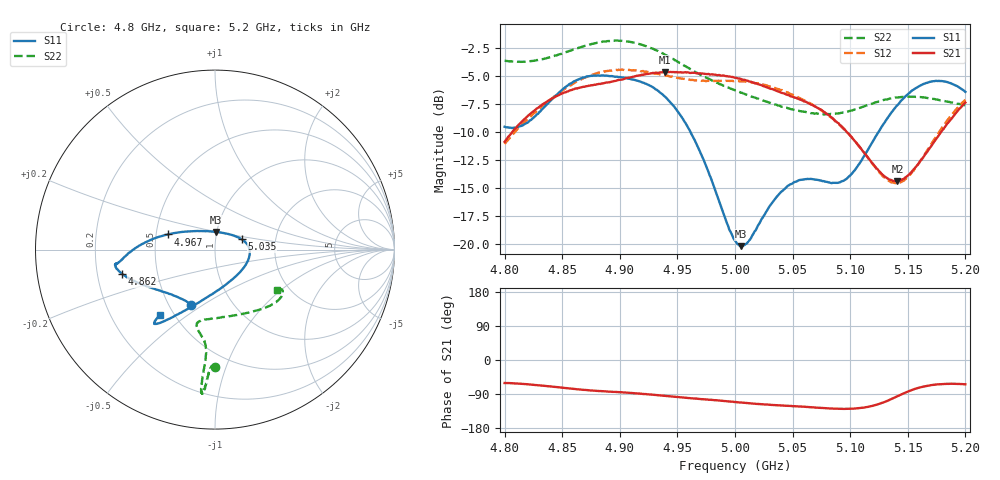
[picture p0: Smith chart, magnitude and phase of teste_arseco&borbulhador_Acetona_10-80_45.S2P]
! Network Analyzer HP8722D
! Hewlett-Packard
! Data name: Linha & Wilkinson
! Saver's name: Rodrigo Anjos
! Comments: Teste da utilização de aquisição
! continua pelo VNA HP8722D
! Time and date: 17/4/2025 14:44
!  Frequency  S11  S21  S12  S22
# HZ  S  MA R 50
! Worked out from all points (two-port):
!   401 points, 4.8 GHz to 5.2 GHz, reference 50 ohm
!   highest |S21| = -4.67 dB at 4.939 GHz (marker M1); lowest = -14.4 dB at 5.141 GHz (marker M2)
!   |S21| within 3 dB of the highest: 4.831 GHz to 5.068 GHz (236.7 MHz wide, 4.78 % of centre); 5.197509 GHz to end of sweep
!   lowest |S11| = -20.2 dB at 5.005 GHz (marker M3), VSWR 1.22, Z = 49.7 + j9.83 ohm
!   |S11| at or under -10 dB: 4.961 GHz to 5.125 GHz (163.3 MHz wide, 3.24 % of centre)
!   |S22| runs from -8.5 to -1.9 dB; largest |S21 - S12| = 0.87
!   S11 on the Smith chart (normalised r, x): 4.8 GHz: 0.65, -0.45; 4.862 GHz: 0.31, -0.12; 4.967 GHz: 0.58, +0.11; 5.035 GHz: 1.34, +0.16; 5.2 GHz: 0.42, -0.39
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4.8e9  0.3333 -113.1  0.2855 -60.7  0.2794 -174.9  0.6558 -89.9
4.819e9  0.3461 -132.9  0.3673 -63.8  0.3557 -173.4  0.65 -91.5
4.862e9  0.5354 -165.4  0.494 -76.9  0.5282 -176.7  0.7422 -93.8
4.867e9  0.5482 -167.4  0.4991 -78.3  0.5427 -177.5  0.7559 -93.9
4.899e9  0.5538 -171.9  0.5379 -84.9  0.5976 175.7  0.8044 -95.2
4.934e9  0.4779 -178.0  0.5791 -93.3  0.5729 172.0  0.7184 -95.6
4.939e9  0.4547 180.0  0.5842 -94.7  0.5655 171.9  0.6988 -95.4
4.953e9  0.3724 172.4  0.5828 -98.5  0.5456 172.6  0.6375 -95.0
4.967e9  0.2766 162.2  0.5754 -101.8  0.5354 174.1  0.5778 -94.9
5e9  0.104 103.0  0.5506 -110.9  0.5331 176.4  0.484 -99.1
5.005e9  0.0981 85.8  0.5439 -112.4  0.5291 176.3  0.4718 -100.3
5.012e9  0.1038 63.1  0.5304 -114.1  0.5261 176.1  0.4585 -101.8
5.035e9  0.1597 21.1  0.4839 -119.1  0.4946 174.9  0.4185 -103.5
5.05e9  0.1867 5.7  0.4531 -121.9  0.4619 174.3  0.398 -99.7
5.067e9  0.1951 -12.5  0.4165 -124.8  0.4187 173.9  0.3829 -91.0
5.085e9  0.1877 -40.5  0.3622 -128.2  0.3617 173.7  0.3802 -77.5
5.097e9  0.1958 -65.1  0.3156 -129.0  0.3159 174.5  0.3887 -67.5
5.134e9  0.3741 -115.8  0.194 -105.4  0.191 -158.3  0.4441 -43.0
5.141e9  0.4159 -119.8  0.1905 -95.6  0.1877 -147.3  0.4497 -39.9
5.153e9  0.4794 -124.8  0.2092 -79.8  0.2069 -128.9  0.4533 -35.7
5.17e9  0.5288 -128.5  0.2718 -66.5  0.2773 -112.6  0.445 -31.9
5.2e9  0.4761 -130.3  0.4271 -64.1  0.439 -106.2  0.4151 -33.2
